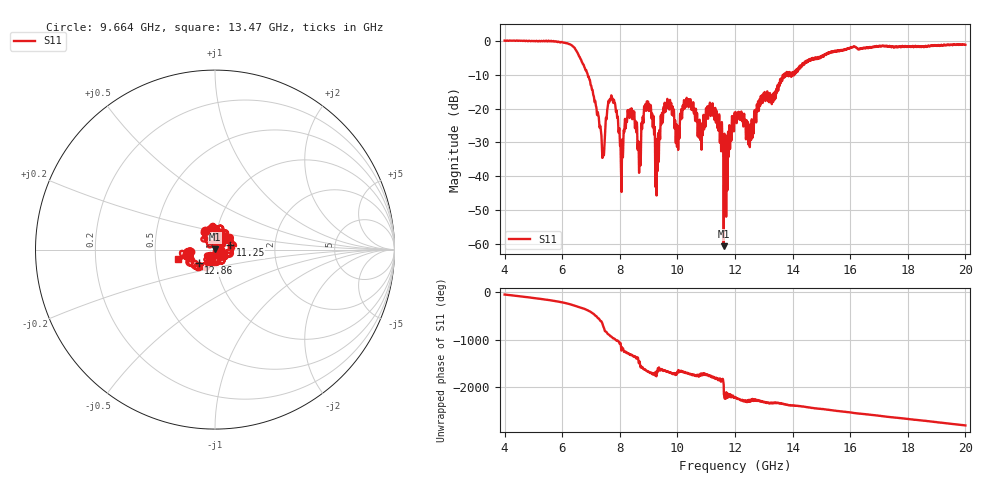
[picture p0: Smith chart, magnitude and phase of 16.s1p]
[Version] 2.0
! Rohde & Schwarz Vector Network Analyzer
! Rohde-Schwarz,ZNL20-2Port,1323001220200009,1.71.1.10-23.02.1.238
! Port Assignments:
! Nominal Port -> Actual Test Port
!  1 -> 1
! Created: GMT+2 2025-01-17 12:49:32
# Hz S RI R 50
[Number of Ports] 1
! freq[Hz]  S11[Re]  S11[Im]
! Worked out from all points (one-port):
!   16001 points, 4 GHz to 20 GHz, reference 50 ohm
!   lowest |S11| = -60.6 dB at 11.61 GHz (marker M1), VSWR 1.00, Z = 49.9 + j0.0737 ohm
!   |S11| at or under -10 dB: 6.884 GHz to 13.7 GHz (6.814 GHz wide, 66.2 % of centre); 13.71206 GHz to 13.73988 GHz (27.82 MHz wide, 0.203 % of centre); 13.94145 GHz to 13.96419 GHz (22.73 MHz wide, 0.163 % of centre)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
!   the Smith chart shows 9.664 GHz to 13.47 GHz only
!   S11 on the Smith chart (normalised r, x): 9.664 GHz: 0.87, +0.18; 11.25 GHz: 1.18, +0.06; 12.86 GHz: 0.82, -0.13; 13.47 GHz: 0.65, -0.07
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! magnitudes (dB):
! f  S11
! 4 GHz  0.0
! 6 GHz  -0.5
! 6.891 GHz  -10.4
! 7.41 GHz  -32.9
! 7.63 GHz  -18.2
! 7.767 GHz  -18.2
! 8 GHz  -29.3
! 8.083 GHz  -29.2
! 8.342 GHz  -22.8
! 8.687 GHz  -30.8
! 8.824 GHz  -23.6
! 9.003 GHz  -20.5
! 9.298 GHz  -29.1
! 9.664 GHz  -18.7
! 10 GHz  -25.7
! 10.29 GHz  -19.5
! 10.78 GHz  -23.6
! 11.25 GHz  -21.3
! 11.61 GHz  -60.6
! 11.67 GHz  -28.0
! 12 GHz  -22.6
! 12.54 GHz  -24.6
! 12.86 GHz  -18.5
! 13.47 GHz  -13.3
! 14 GHz  -10.2
! 16 GHz  -2.0
! 18 GHz  -1.6
! 20 GHz  -1.2
